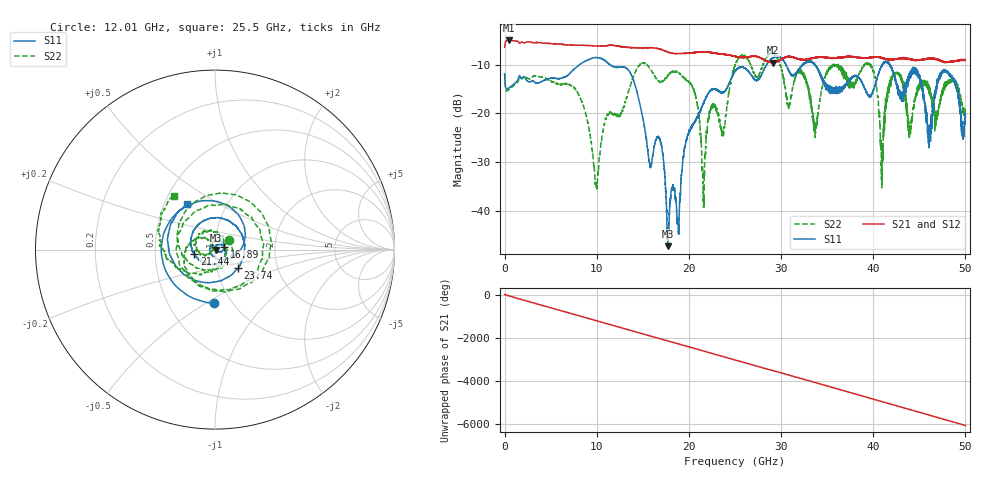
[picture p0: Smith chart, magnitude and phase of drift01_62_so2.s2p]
!Created with skrf (http://scikit-rf.org).
# Hz S RI R 50.0
!freq ReS11 ImS11 ReS21 ImS21 ReS12 ImS12 ReS22 ImS22
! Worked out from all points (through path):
!   10001 points, 300 kHz to 50 GHz, reference 50 ohm
!   highest |S21| = -5.05 dB at 490.3 MHz (marker M1); lowest = -9.6 dB at 29.12 GHz (marker M2)
!   group delay of S21, straight-line fit = 336 ps
!   lowest |S11| = -47.2 dB at 17.69 GHz (marker M3), VSWR 1.01, Z = 50.4 - j0.131 ohm
!   |S11| at or under -10 dB: start of sweep to 8.154 GHz; 11.42 GHz to 28.42 GHz (16.99 GHz wide, 85.3 % of centre); 41.81 GHz to end of sweep (the widest 3 of 17)
!   |S22| runs from -39.2 to -7.6 dB; largest |S21 - S12| = 0.013
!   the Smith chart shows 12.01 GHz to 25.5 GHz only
!   S11 on the Smith chart (normalised r, x): 12.01 GHz: 0.83, -0.54; 16.89 GHz: 1.11, +0.03; 21.44 GHz: 0.79, -0.04; 23.74 GHz: 1.26, -0.27; 25.5 GHz: 0.65, +0.36
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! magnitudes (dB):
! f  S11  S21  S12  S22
! 300 kHz  -11.9  -6.4  -6.5  -11.9
! 490.3 MHz  -14.7  -5.1  -5.1  -15.1
! 8.335 GHz  -9.8  -6.0  -6.0  -17.5
! 9.945 GHz  -8.6  -6.2  -6.2  -34.8
! 12.01 GHz  -10.5  -6.1  -6.2  -20.4
! 13.96 GHz  -13.1  -6.5  -6.5  -12.7
! 15.77 GHz  -30.7  -6.5  -6.5  -10.8
! 16.67 GHz  -24.7  -6.7  -6.7  -13.4
! 16.89 GHz  -25.5  -6.8  -6.8  -13.6
! 17.69 GHz  -47.2  -7.4  -7.4  -12.3
! 20.48 GHz  -22.3  -7.5  -7.5  -14.9
! 21.44 GHz  -18.6  -7.4  -7.4  -30.7
! 22.47 GHz  -15.2  -7.5  -7.6  -19.0
! 23.74 GHz  -15.7  -7.9  -7.9  -24.5
! 25 GHz  -11.4  -8.3  -8.4  -10.3
! 25.5 GHz  -10.5  -8.5  -8.5  -8.5
! 29.12 GHz  -8.6  -9.6  -9.6  -7.7
! 33.34 GHz  -9.5  -8.7  -8.7  -19.5
! 39.49 GHz  -16.3  -8.6  -8.6  -9.8
! 40.97 GHz  -10.1  -8.6  -8.6  -29.2
! 41.67 GHz  -9.5  -8.9  -8.9  -14.6
! 50 GHz  -20.5  -9.1  -9.1  -20.2
